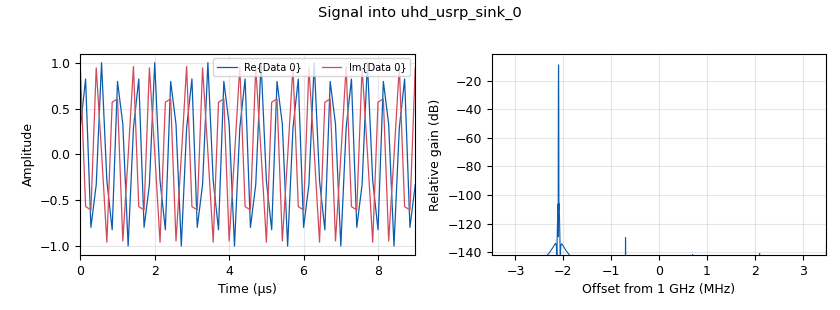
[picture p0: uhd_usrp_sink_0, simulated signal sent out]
options:
  parameters:
    author: Ben Cometto
    generate_options: qt_gui
    id: fmcw_sim
    output_language: python
    title: LFMCW Radar Simulation
  states: {}

blocks:
- name: alpha
  id: variable
  parameters:
    value: (max_freq-min_freq)/t_chirp
  states: {}
- name: c
  id: variable
  parameters:
    value: '300000000'
  states: {}
- name: df
  id: variable
  parameters:
    value: samp_rate/k_bins
  states: {}
- name: distance_max_m
  id: variable
  parameters:
    value: '100'
  states: {}
- name: distance_per_sample
  id: variable
  parameters:
    value: c/samp_rate/2
  states: {}
- name: k_bins
  id: variable
  parameters:
    value: 2**18
  states: {}
- name: max_freq
  id: variable
  parameters:
    value: samp_rate*0.3
  states: {}
- name: min_freq
  id: variable
  parameters:
    value: '-max_freq'
  states: {}
- name: radio_center
  id: variable
  parameters:
    value: 1e9
  states: {}
- name: radio_rx_gain
  id: variable
  parameters:
    value: '50'
  states: {}
- name: radio_tx_gain
  id: variable
  parameters:
    value: '40'
  states: {}
- name: samp_rate
  id: variable
  parameters:
    value: int(7e6)
  states: {}
- name: system_delay
  id: variable
  parameters:
    value: '0'
  states: {}
- name: t_chirp
  id: variable
  parameters:
    value: '2'
  states: {}
- name: analog_sig_source_x_0
  id: analog_sig_source_x
  parameters:
    amp: '1'
    freq: 1/t_chirp
    offset: '0'
    phase: '0'
    samp_rate: samp_rate
    type: float
    waveform: analog.GR_SAW_WAVE
  states: {}
- name: analog_sig_source_x_1
  id: analog_sig_source_x
  parameters:
    amp: '1'
    freq: '10000'
    offset: '0'
    phase: '0'
    samp_rate: samp_rate
    type: complex
    waveform: analog.GR_COS_WAVE
  states: {state: disabled}
- name: blocks_add_const_vxx_0
  id: blocks_add_const_vxx
  parameters:
    const: min_freq
    type: float
  states: {}
- name: blocks_argmax_xx_1
  id: blocks_argmax_xx
  parameters:
    num_inputs: '1'
    type: float
    vlen: k_bins
  states: {}
- name: blocks_complex_to_mag_squared_0
  id: blocks_complex_to_mag_squared
  parameters:
    vlen: k_bins
  states: {}
- name: blocks_delay_0
  id: blocks_delay
  parameters:
    delay: system_delay
    type: complex
  states: {}
- name: blocks_delay_0_0
  id: blocks_delay
  parameters:
    delay: samp_rate*3
    type: float
  states: {}
- name: blocks_multiply_conjugate_cc_0
  id: blocks_multiply_conjugate_cc
  parameters: {}
  states: {}
- name: blocks_multiply_const_vxx_0
  id: blocks_multiply_const_vxx
  parameters:
    const: (max_freq-min_freq)
    type: float
  states: {}
- name: blocks_multiply_const_vxx_1
  id: blocks_multiply_const_vxx
  parameters:
    const: 1*df
    type: float
  states: {}
- name: blocks_multiply_const_vxx_1_0
  id: blocks_multiply_const_vxx
  parameters:
    const: c/2/alpha
    type: float
  states: {}
- name: blocks_null_sink_0
  id: blocks_null_sink
  parameters:
    type: short
  states: {}
- name: blocks_short_to_float_0
  id: blocks_short_to_float
  parameters:
    scale: '1'
  states: {}
- name: blocks_stream_to_vector_0_0
  id: blocks_stream_to_vector
  parameters:
    num_items: k_bins
    type: complex
  states: {}
- name: blocks_vco_c_0
  id: blocks_vco_c
  parameters:
    amplitude: '1'
    samp_rate: samp_rate
    sensitivity: 2*np.pi
  states: {}
- name: fft_vxx_0_0
  id: fft_vxx
  parameters:
    fft_size: k_bins
    forward: 'True'
    nthreads: '2'
    shift: 'False'
    type: complex
    window: window.blackmanharris(k_bins)
  states: {}
- name: import_0
  id: import
  parameters:
    imports: import numpy as np
  states: {}
- name: qtgui_freq_sink_x_0
  id: qtgui_freq_sink_x
  parameters:
    bw: samp_rate
    ctrlpanel: 'True'
    fc: '0'
    fftsize: '1024'
    type: complex
  states: {state: disabled}
- name: qtgui_freq_sink_x_0_0
  id: qtgui_freq_sink_x
  parameters:
    bw: samp_rate
    fc: '0'
    fftsize: '2048'
    name: '"Demodulated Signal"'
    type: complex
  states: {}
- name: qtgui_freq_sink_x_0_0_0
  id: qtgui_freq_sink_x
  parameters:
    bw: samp_rate
    ctrlpanel: 'True'
    fc: '0'
    fftsize: '2048'
    label1: '"Rx"'
    label2: '''Tx'''
    name: '"TxRx Signal"'
    nconnections: '2'
    type: complex
  states: {}
- name: qtgui_number_sink_0
  id: qtgui_number_sink
  parameters:
    graph_type: qtgui.NUM_GRAPH_VERT
    max: samp_rate/2
    min: '0'
    name: '"beat frequency"'
    type: float
  states: {}
- name: qtgui_number_sink_0_0
  id: qtgui_number_sink
  parameters:
    graph_type: qtgui.NUM_GRAPH_HORIZ
    max: distance_max_m
    min: '0'
    name: '"object distance"'
    type: float
  states: {}
- name: qtgui_number_sink_0_1_0
  id: qtgui_number_sink
  parameters:
    graph_type: qtgui.NUM_GRAPH_VERT
    max: k_bins/2
    min: '0'
    name: '"sample"'
    type: float
  states: {}
- name: qtgui_time_sink_x_0
  id: qtgui_time_sink_x
  parameters:
    ctrlpanel: 'True'
    size: samp_rate*2
    srate: samp_rate
    type: complex
  states: {state: disabled}
- name: qtgui_time_sink_x_0_0
  id: qtgui_time_sink_x
  parameters:
    size: samp_rate
    srate: samp_rate
    type: complex
  states: {state: disabled}
- name: qtgui_time_sink_x_0_1
  id: qtgui_time_sink_x
  parameters:
    ctrlpanel: 'True'
    name: '"Desired Frequency"'
    size: samp_rate*2
    srate: samp_rate
    type: float
    ylabel: '"f"'
    ymin: '0'
    yunit: '"t"'
  states: {state: disabled}
- name: qtgui_vector_sink_f_0
  id: qtgui_vector_sink_f
  parameters:
    autoscale: 'True'
    grid: 'True'
    vlen: k_bins
    x_axis_label: '"Freq"'
    x_start: '0'
    x_step: 1*df
  states: {state: disabled}
- name: qtgui_vector_sink_f_0_0
  id: qtgui_vector_sink_f
  parameters:
    autoscale: 'True'
    grid: 'True'
    name: '"By Sample"'
    vlen: k_bins
    x_axis_label: '"k"'
    x_start: '0'
    x_step: '1'
  states: {state: disabled}
- name: uhd_usrp_sink_0
  id: uhd_usrp_sink
  parameters:
    ant0: '"TX/RX"'
    center_freq0: radio_center
    gain0: radio_tx_gain
    samp_rate: samp_rate
    sync: sync
    type: fc32
  states: {}
- name: uhd_usrp_source_0
  id: uhd_usrp_source
  parameters:
    ant0: '"RX2"'
    center_freq0: radio_center
    gain0: radio_rx_gain
    samp_rate: samp_rate
    sync: sync
    type: fc32
  states: {}
- name: virtual_sink_0
  id: virtual_sink
  parameters:
    stream_id: tx
  states: {}
- name: virtual_sink_0_0
  id: virtual_sink
  parameters:
    stream_id: beat_data
  states: {}
- name: virtual_source_0
  id: virtual_source
  parameters:
    stream_id: tx
  states: {}
- name: virtual_source_0_0
  id: virtual_source
  parameters:
    stream_id: beat_data
  states: {}
- name: virtual_source_0_1
  id: virtual_source
  parameters:
    stream_id: tx
  states: {}

connections:
- [analog_sig_source_x_0, '0', blocks_delay_0_0, '0']
- [analog_sig_source_x_0, '0', qtgui_time_sink_x_0_1, '0']
- [analog_sig_source_x_1, '0', blocks_stream_to_vector_0_0, '0']
- [blocks_add_const_vxx_0, '0', blocks_vco_c_0, '0']
- [blocks_argmax_xx_1, '0', virtual_sink_0_0, '0']
- [blocks_argmax_xx_1, '1', blocks_null_sink_0, '0']
- [blocks_complex_to_mag_squared_0, '0', blocks_argmax_xx_1, '0']
- [blocks_complex_to_mag_squared_0, '0', qtgui_vector_sink_f_0, '0']
- [blocks_complex_to_mag_squared_0, '0', qtgui_vector_sink_f_0_0, '0']
- [blocks_delay_0, '0', blocks_multiply_conjugate_cc_0, '0']
- [blocks_delay_0_0, '0', blocks_multiply_const_vxx_0, '0']
- [blocks_multiply_conjugate_cc_0, '0', blocks_stream_to_vector_0_0, '0']
- [blocks_multiply_conjugate_cc_0, '0', qtgui_freq_sink_x_0_0, '0']
- [blocks_multiply_conjugate_cc_0, '0', qtgui_time_sink_x_0_0, '0']
- [blocks_multiply_const_vxx_0, '0', blocks_add_const_vxx_0, '0']
- [blocks_multiply_const_vxx_1, '0', blocks_multiply_const_vxx_1_0, '0']
- [blocks_multiply_const_vxx_1, '0', qtgui_number_sink_0, '0']
- [blocks_multiply_const_vxx_1_0, '0', qtgui_number_sink_0_0, '0']
- [blocks_short_to_float_0, '0', blocks_multiply_const_vxx_1, '0']
- [blocks_short_to_float_0, '0', qtgui_number_sink_0_1_0, '0']
- [blocks_stream_to_vector_0_0, '0', fft_vxx_0_0, '0']
- [blocks_vco_c_0, '0', qtgui_freq_sink_x_0, '0']
- [blocks_vco_c_0, '0', qtgui_time_sink_x_0, '0']
- [blocks_vco_c_0, '0', virtual_sink_0, '0']
- [fft_vxx_0_0, '0', blocks_complex_to_mag_squared_0, '0']
- [uhd_usrp_source_0, '0', blocks_multiply_conjugate_cc_0, '1']
- [uhd_usrp_source_0, '0', qtgui_freq_sink_x_0_0_0, '0']
- [virtual_source_0, '0', blocks_delay_0, '0']
- [virtual_source_0, '0', qtgui_freq_sink_x_0_0_0, '1']
- [virtual_source_0_0, '0', blocks_short_to_float_0, '0']
- [virtual_source_0_1, '0', uhd_usrp_sink_0, '0']

metadata:
  file_format: 1
  grc_version: 3.10.10.0
